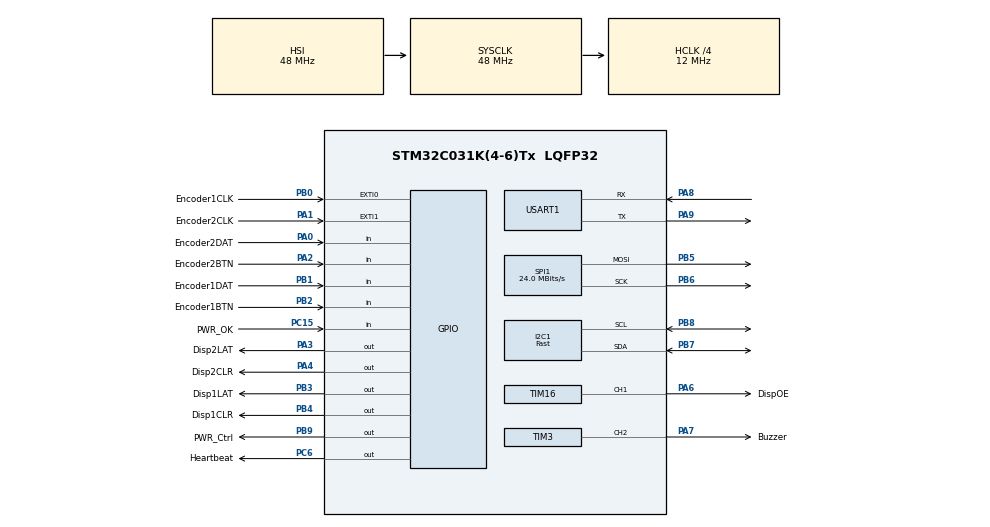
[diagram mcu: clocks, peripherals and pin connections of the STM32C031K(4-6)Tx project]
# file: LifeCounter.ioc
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I2C1.I2C_Speed_Mode=I2C_Fast
I2C1.Timing=0x00000002
Mcu.Family=STM32C0
Mcu.Name=STM32C031K(4-6)Tx
Mcu.Package=LQFP32
NVIC.EXTI0_1_IRQn=true\:0\:0\:false\:false\:true\:true\:true\:true
NVIC.USART1_IRQn=true\:0\:0\:false\:false\:true\:true\:true\:true
PA0.GPIO_Label=Encoder2DAT
PA0.Signal=GPIO_Input
PA1.GPIO_Label=Encoder2CLK
PA1.GPIO_ModeDefaultEXTI=GPIO_MODE_IT_RISING_FALLING
PA1.Signal=GPXTI1
PA13.Mode=Serial_Wire
PA13.Signal=DEBUG_SWDIO
PA14-BOOT0.Mode=Serial_Wire
PA14-BOOT0.Signal=DEBUG_SWCLK
PA2.GPIO_Label=Encoder2BTN
PA2.Signal=GPIO_Input
PA3.GPIO_Label=Disp2LAT
PA3.Signal=GPIO_Output
PA4.GPIO_Label=Disp2CLR
PA4.Signal=GPIO_Output
PA6.GPIO_Label=DispOE
PA6.Signal=S_TIM16_CH1
PA7.GPIO_Label=Buzzer
PA7.Signal=S_TIM3_CH2
PA8.Mode=Asynchronous
PA8.Signal=USART1_RX
PA9.Mode=Asynchronous
PA9.Signal=USART1_TX
PB0.GPIO_Label=Encoder1CLK
PB0.GPIO_ModeDefaultEXTI=GPIO_MODE_IT_RISING_FALLING
PB0.Signal=GPXTI0
PB1.GPIO_Label=Encoder1DAT
PB1.Signal=GPIO_Input
PB2.GPIO_Label=Encoder1BTN
PB2.Signal=GPIO_Input
PB3.GPIO_Label=Disp1LAT
PB3.Signal=GPIO_Output
PB4.GPIO_Label=Disp1CLR
PB4.Signal=GPIO_Output
PB5.Mode=TX_Only_Simplex_Unidirect_Master
PB5.Signal=SPI1_MOSI
PB6.Mode=TX_Only_Simplex_Unidirect_Master
PB6.Signal=SPI1_SCK
PB7.Mode=I2C
PB7.Signal=I2C1_SDA
PB8.Mode=I2C
PB8.Signal=I2C1_SCL
PB9.GPIO_Label=PWR_Ctrl
PB9.PinState=GPIO_PIN_SET
PB9.Signal=GPIO_Output
PC15-OSCX_OUT\ (PC15).GPIO_Label=PWR_OK
PC15-OSCX_OUT\ (PC15).GPIO_PuPd=GPIO_PULLUP
PC15-OSCX_OUT\ (PC15).Signal=GPIO_Input
PC6.GPIO_Label=Heartbeat
PC6.Signal=GPIO_Output
ProjectManager.HeapSize=0x200
ProjectManager.StackSize=0x400
ProjectManager.TargetToolchain=CMake
RCC.ADCFreq_Value=48000000
RCC.AHBCLKDivider=RCC_HCLK_DIV4
RCC.AHBFreq_Value=12000000
RCC.APB1CLKDivider=RCC_APB1_DIV4
RCC.CortexFreq_Value=1500000
RCC.Cortex_Div=SYSTICK_CLKSOURCE_HCLK_DIV8
RCC.EXTERNAL_CLOCK_VALUE=12288000
RCC.HCLKFreq_Value=12000000
RCC.HSE_VALUE=8000000
RCC.HSISYSCLKDivider=RCC_HSI_DIV1
RCC.HSI_VALUE=48000000
RCC.LSE_VALUE=32768
RCC.SYSCLKFreq_VALUE=48000000
SH.S_TIM16_CH1.0=TIM16_CH1,PWM Generation1 CH1
SH.S_TIM3_CH2.0=TIM3_CH2,PWM Generation2 CH2
SPI1.CalculateBaudRate=24.0 MBits/s
SPI1.Direction=SPI_DIRECTION_2LINES
SPI1.Mode=SPI_MODE_MASTER
SPI1.VirtualType=VM_MASTER
TIM16.AutoReloadPreload=TIM_AUTORELOAD_PRELOAD_ENABLE
TIM16.Channel=TIM_CHANNEL_1
TIM16.OCPolarity_1=TIM_OCPOLARITY_LOW
TIM16.Period=99
TIM16.Prescaler=20
TIM16.Pulse=0
TIM3.AutoReloadPreload=TIM_AUTORELOAD_PRELOAD_ENABLE
TIM3.Channel-PWM\ Generation2\ CH2=TIM_CHANNEL_2
TIM3.Period=200
TIM3.Prescaler=5
TIM3.Pulse-PWM\ Generation2\ CH2=0
USART1.VirtualMode-Asynchronous=VM_ASYNC
VP_TIM16_VS_ClockSourceINT.Mode=Enable_Timer
VP_TIM3_VS_ClockSourceINT.Mode=Internal
board=custom

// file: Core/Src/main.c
/* USER CODE BEGIN Header */
/**
  ******************************************************************************
  * @file           : main.c
  * @brief          : Main program body
  ******************************************************************************
  * @attention
  *
  * Copyright (c) 2025 STMicroelectronics.
  * All rights reserved.
  *
  * This software is licensed under terms that can be found in the LICENSE file
  * in the root directory of this software component.
  * If no LICENSE file comes with this software, it is provided AS-IS.
  *
  ******************************************************************************
  */
/* USER CODE END Header */
#include "main.h"
#include "i2c.h"
#include "spi.h"
#include "tim.h"
#include "usart.h"
#include "gpio.h"

/* USER CODE BEGIN Includes */
#include <stdbool.h>
/* USER CODE END Includes */

/* USER CODE BEGIN 0 */
void dispClear()
{
  HAL_GPIO_WritePin(Disp1LAT_GPIO_Port, Disp1LAT_Pin, GPIO_PIN_RESET);
  HAL_GPIO_WritePin(Disp2LAT_GPIO_Port, Disp2LAT_Pin, GPIO_PIN_RESET);
  HAL_GPIO_WritePin(Disp1CLR_GPIO_Port, Disp1CLR_Pin, GPIO_PIN_RESET);
  HAL_GPIO_WritePin(Disp2CLR_GPIO_Port, Disp2CLR_Pin, GPIO_PIN_RESET);
  HAL_Delay(1);
  HAL_GPIO_WritePin(Disp1CLR_GPIO_Port, Disp1CLR_Pin, GPIO_PIN_SET);
  HAL_GPIO_WritePin(Disp2CLR_GPIO_Port, Disp2CLR_Pin, GPIO_PIN_SET);
  HAL_GPIO_WritePin(Disp1LAT_GPIO_Port, Disp1LAT_Pin, GPIO_PIN_SET);
  HAL_GPIO_WritePin(Disp2LAT_GPIO_Port, Disp2LAT_Pin, GPIO_PIN_SET);
}

void dispEnabled(bool enable)
{
  HAL_GPIO_WritePin(DispOE_GPIO_Port, DispOE_Pin, !enable);
}

void disp1Write(uint8_t number, uint8_t digit, uint8_t status, uint8_t dp)
{
  static uint8_t lookup[16] = {
      0x3F, // 0
      0x06, // 1
      0x5B, // 2
      0x4F, // 3
      0x66, // 4
      0x6D, // 5
      0x7D, // 6
      0x07, // 7
      0x7F, // 8
      0x67, // 9
      0x77, // A
      0x7C, // B
      0x39, // C
      0x5E, // D
      0x79, // E
      0x71, // F
  };
  struct
  {
    uint8_t ActiveDigit : 4;
    uint8_t StatusLEDs : 4;
    uint8_t Value : 7;
    uint8_t Point : 1;
  } data;

  if (digit >= 4)
    return;
  if (number >= sizeof(lookup))
    return;

  data.StatusLEDs = status;
  data.ActiveDigit = 1 << digit;
  data.Value = ~lookup[number];
  data.Point = !dp;

  HAL_GPIO_WritePin(Disp1LAT_GPIO_Port, Disp1LAT_Pin, GPIO_PIN_RESET);
  HAL_StatusTypeDef transStatus = HAL_SPI_Transmit(&hspi1, (void *)&data, sizeof(data), 1);
  if (transStatus != HAL_OK)
  {
    HAL_GPIO_WritePin(Heartbeat_GPIO_Port, Heartbeat_Pin, GPIO_PIN_SET);
    while (1)
      ;
  }
  HAL_GPIO_WritePin(Disp1LAT_GPIO_Port, Disp1LAT_Pin, GPIO_PIN_SET);
}

void disp2Write(uint8_t number, uint8_t digit, uint8_t status, uint8_t dp)
{
  static uint8_t lookup[16] = {
      0x3F, // 0
      0x06, // 1
      0x5B, // 2
      0x4F, // 3
      0x66, // 4
      0x6D, // 5
      0x7D, // 6
      0x07, // 7
      0x7F, // 8
      0x67, // 9
      0x77, // A
      0x7C, // B
      0x39, // C
      0x5E, // D
      0x79, // E
      0x71, // F
  };
  struct
  {
    uint8_t ActiveDigit : 4;
    uint8_t StatusLEDs : 4;
    uint8_t Value : 7;
    uint8_t Point : 1;
  } data;

  if (digit >= 4)
    return;
  if (number >= sizeof(lookup))
    return;

  data.StatusLEDs = status;
  data.ActiveDigit = 1 << digit;
  data.Value = ~lookup[number];
  data.Point = !dp;

  HAL_GPIO_WritePin(Disp2LAT_GPIO_Port, Disp2LAT_Pin, GPIO_PIN_RESET);
  HAL_StatusTypeDef transStatus = HAL_SPI_Transmit(&hspi1, (void *)&data, sizeof(data), 1);
  if (transStatus != HAL_OK)
  {
    HAL_GPIO_WritePin(Heartbeat_GPIO_Port, Heartbeat_Pin, GPIO_PIN_SET);
    while (1)
      ;
  }
  HAL_GPIO_WritePin(Disp2LAT_GPIO_Port, Disp2LAT_Pin, GPIO_PIN_SET);
}
/* USER CODE END 0 */

int _main_(void)
{

  /* MCU Configuration--------------------------------------------------------*/

  /* Reset of all peripherals, Initializes the Flash interface and the Systick. */
  HAL_Init();

  /* Configure the system clock */
  SystemClock_Config();

  /* Initialize all configured peripherals */
  MX_GPIO_Init();
  MX_I2C1_Init();
  MX_SPI1_Init();
  MX_USART1_UART_Init();
  MX_TIM3_Init();
  MX_TIM16_Init();
  /* USER CODE BEGIN 2 */
  dispClear();
  dispEnabled(true);
  const int timing = 1;
  /* USER CODE END 2 */

  /* Infinite loop */
  while (1)
  {

    /* USER CODE BEGIN 3 */
    disp1Write(1, 0, 0, 0);
    HAL_Delay(timing);
  }
  /* USER CODE END 3 */
}

void SystemClock_Config(void)
{
  RCC_OscInitTypeDef RCC_OscInitStruct = {0};
  RCC_ClkInitTypeDef RCC_ClkInitStruct = {0};

  __HAL_FLASH_SET_LATENCY(FLASH_LATENCY_0);

  /** Initializes the RCC Oscillators according to the specified parameters
  * in the RCC_OscInitTypeDef structure.
  */
  RCC_OscInitStruct.OscillatorType = RCC_OSCILLATORTYPE_HSI;
  RCC_OscInitStruct.HSIState = RCC_HSI_ON;
  RCC_OscInitStruct.HSIDiv = RCC_HSI_DIV1;
  RCC_OscInitStruct.HSICalibrationValue = RCC_HSICALIBRATION_DEFAULT;
  if (HAL_RCC_OscConfig(&RCC_OscInitStruct) != HAL_OK)
  {
    Error_Handler();
  }

  /** Initializes the CPU, AHB and APB buses clocks
  */
  RCC_ClkInitStruct.ClockType = RCC_CLOCKTYPE_HCLK|RCC_CLOCKTYPE_SYSCLK
                              |RCC_CLOCKTYPE_PCLK1;
  RCC_ClkInitStruct.SYSCLKSource = RCC_SYSCLKSOURCE_HSI;
  RCC_ClkInitStruct.SYSCLKDivider = RCC_SYSCLK_DIV1;
  RCC_ClkInitStruct.AHBCLKDivider = RCC_HCLK_DIV4;
  RCC_ClkInitStruct.APB1CLKDivider = RCC_APB1_DIV4;

  if (HAL_RCC_ClockConfig(&RCC_ClkInitStruct, FLASH_LATENCY_0) != HAL_OK)
  {
    Error_Handler();
  }
}

void Error_Handler(void)
{
  __disable_irq();
  while (1)
  {
  }
}
